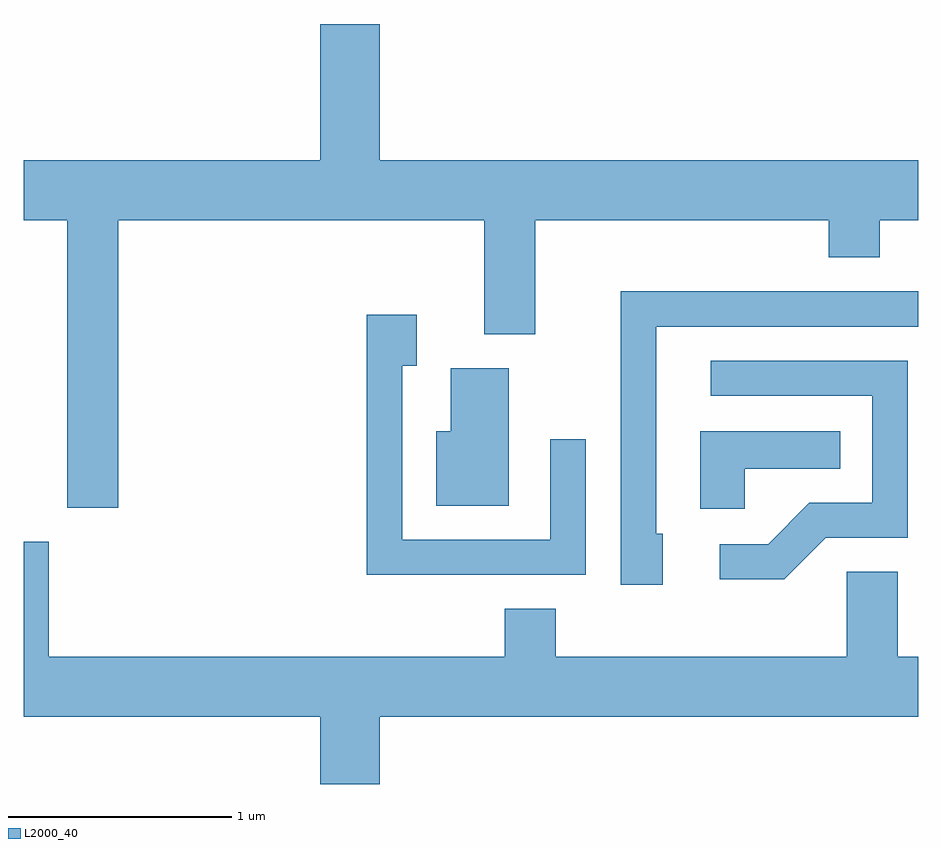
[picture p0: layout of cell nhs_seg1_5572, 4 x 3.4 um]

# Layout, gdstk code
import gdstk
lib = gdstk.Library(unit=1e-6, precision=1e-09)
def P(c, l, *ps):  # polygons
    for p in ps: c.add(gdstk.Polygon(p, *l))
L2000_40 = (2000, 40)

nhs_seg1_5572 = lib.new_cell('nhs_seg1_5572')
P(nhs_seg1_5572, L2000_40, [(354.034,870.716),(355.671,870.716),(355.671,870.206),(355.899,870.206),(355.899,870.716),(357.211,870.716),(357.211,870.551),(357.439,870.551),(357.439,870.716),(357.611,870.716),(357.611,870.984),(355.204,870.984),(355.204,871.594),(354.936,871.594),(354.936,870.984),(353.611,870.984),(353.611,870.716),(353.806,870.716),(353.806,869.431),(354.034,869.431)],
  [(356.469,869.314),(356.439,869.314),(356.439,870.241),(357.611,870.241),(357.611,870.399),(356.281,870.399),(356.281,869.086),(356.469,869.086)],
  [(356.124,869.738),(355.966,869.738),(355.966,869.289),(355.304,869.289),(355.304,870.066),(355.369,870.066),(355.369,870.294),(355.146,870.294),(355.146,869.131),(356.124,869.131)],
  [(357.197,869.296),(357.564,869.296),(357.564,870.089),(356.683,870.089),(356.683,869.931),(357.406,869.931),(357.406,869.454),(357.124,869.454),(356.939,869.269),(356.723,869.269),(356.723,869.111),(357.012,869.111)],
  [(355.779,870.054),(355.521,870.054),(355.521,869.774),(355.456,869.774),(355.456,869.441),(355.779,869.441)],
  [(356.834,869.606),(357.263,869.606),(357.263,869.774),(356.636,869.774),(356.636,869.426),(356.834,869.426)],
  [(355.204,868.496),(357.611,868.496),(357.611,868.764),(357.519,868.764),(357.519,869.144),(357.291,869.144),(357.291,868.764),(355.989,868.764),(355.989,868.979),(355.761,868.979),(355.761,868.764),(353.724,868.764),(353.724,869.279),(353.611,869.279),(353.611,868.496),(354.936,868.496),(354.936,868.196),(355.204,868.196)])

lib.write_gds('nhs_seg1_5572.gds')
